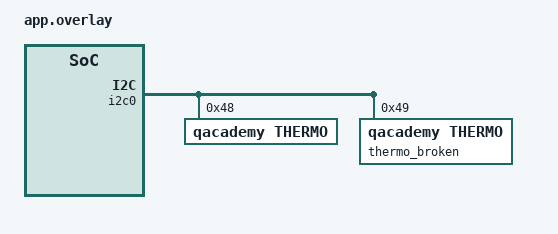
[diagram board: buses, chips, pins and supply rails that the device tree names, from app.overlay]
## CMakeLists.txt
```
# SPDX-License-Identifier: MIT

cmake_minimum_required(VERSION 3.20.0)

# The same module the application uses: the tests exercise the real driver, not a copy of it.
list(APPEND ZEPHYR_EXTRA_MODULES ${CMAKE_CURRENT_SOURCE_DIR}/../module)

find_package(Zephyr REQUIRED HINTS $ENV{ZEPHYR_BASE})
project(thermo_tests)

target_sources(app PRIVATE src/main.c)
```

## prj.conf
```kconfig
# The test framework. On native_sim, the test program exits when the last suite has run, with
# status 0 if every test passed, which is what Twister checks.
CONFIG_ZTEST=y

CONFIG_SENSOR=y
CONFIG_EMUL=y
CONFIG_LOG=y
```

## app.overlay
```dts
/*
 * SPDX-License-Identifier: MIT
 *
 * Two emulated parts on native_sim's I2C bus: one the tests read, and one whose initialization is
 * deferred until a test has made it faulty.
 */

&i2c0 {
	thermo: thermo@48 {
		compatible = "qacademy,thermo";
		reg = <0x48>;
		conversion-timeout-ms = <50>;
	};

	/*
	 * zephyr,deferred-init keeps the kernel from initializing this device at boot. A test
	 * initializes it with device_init(), after changing what the emulated part reports.
	 */
	thermo_broken: thermo@49 {
		compatible = "qacademy,thermo";
		reg = <0x49>;
		zephyr,deferred-init;
	};
};
```

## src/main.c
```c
/*
 * SPDX-License-Identifier: MIT
 *
 * Tests of the Thermo driver, run against its emulator on native_sim's I2C bus.
 */

#include <zephyr/device.h>
#include <zephyr/drivers/emul.h>
#include <zephyr/drivers/emul_sensor.h>
#include <zephyr/drivers/sensor.h>
#include <zephyr/kernel.h>
#include <zephyr/ztest.h>

#include <qacademy/thermo_emul.h>

#define THERMO_NODE        DT_NODELABEL(thermo)
#define THERMO_BROKEN_NODE DT_NODELABEL(thermo_broken)

static const struct device *const sensor = DEVICE_DT_GET(THERMO_NODE);
static const struct emul *const emul = EMUL_DT_GET(THERMO_NODE);

/* Set the temperature the emulated part will measure, in millionths of a degree Celsius. */
static int set_temperature(int64_t micro_c)
{
	/* The backend takes a Q31 fraction scaled by 2^shift. A shift of 8 spans
	 * +-256 degrees, enough to express temperatures the part cannot measure. */
	const int8_t shift = 8;
	q31_t value = (q31_t)((micro_c * (1LL << (31 - shift))) / 1000000);
	struct sensor_chan_spec chan = {SENSOR_CHAN_AMBIENT_TEMP, 0};

	return emul_sensor_backend_set_channel(emul, chan, &value, shift);
}

/* Fetch a reading and convert it, asserting that neither step fails. */
static struct sensor_value read_temperature(void)
{
	struct sensor_value value;

	zassert_ok(sensor_sample_fetch(sensor));
	zassert_ok(sensor_channel_get(sensor, SENSOR_CHAN_AMBIENT_TEMP, &value));

	return value;
}

/* Undo the fault injection of any test, so that every test starts from a working part. */
static void after(void *fixture)
{
	ARG_UNUSED(fixture);

	thermo_emul_set_stuck(emul, false);
}

ZTEST_SUITE(thermo, NULL, NULL, NULL, after, NULL);

ZTEST(thermo, test_device_is_ready)
{
	zassert_true(device_is_ready(sensor), "init failed, although WHO_AM_I is right");
}

ZTEST(thermo, test_positive_temperature)
{
	zassert_ok(set_temperature(21500000));

	struct sensor_value value = read_temperature();

	zassert_equal(value.val1, 21);
	zassert_equal(value.val2, 500000);
}

ZTEST(thermo, test_zero)
{
	zassert_ok(set_temperature(0));

	struct sensor_value value = read_temperature();

	zassert_equal(value.val1, 0);
	zassert_equal(value.val2, 0);
}

ZTEST(thermo, test_negative_temperature)
{
	zassert_ok(set_temperature(-18062500));

	struct sensor_value value = read_temperature();

	/* Both parts of a negative sensor_value are negative. */
	zassert_equal(value.val1, -18);
	zassert_equal(value.val2, -62500);
}

ZTEST(thermo, test_negative_below_one_degree)
{
	zassert_ok(set_temperature(-500000));

	struct sensor_value value = read_temperature();

	/* val1 cannot carry the sign of -0.5, so val2 must. */
	zassert_equal(value.val1, 0);
	zassert_equal(value.val2, -500000);
}

ZTEST(thermo, test_readings_are_in_steps_of_a_sixteenth)
{
	/* 23.1 degrees is 369.6 sixteenths; the part rounds that to 370, which is 23.125. */
	zassert_ok(set_temperature(23100000));

	struct sensor_value value = read_temperature();

	zassert_equal(value.val1, 23);
	zassert_equal(value.val2, 125000);
}

ZTEST(thermo, test_range_limits)
{
	struct sensor_value value;

	zassert_ok(set_temperature(-128000000));
	value = read_temperature();
	zassert_equal(sensor_value_to_micro(&value), -128000000);

	zassert_ok(set_temperature(127937500));
	value = read_temperature();
	zassert_equal(sensor_value_to_micro(&value), 127937500);

	zassert_equal(set_temperature(150000000), -ERANGE, "the part cannot measure 150 degrees");
}

ZTEST(thermo, test_channel_get_returns_the_last_fetch)
{
	struct sensor_value value;

	zassert_ok(set_temperature(10000000));
	zassert_ok(sensor_sample_fetch(sensor));

	/* The world changes, but nobody fetches: channel_get still converts the old reading. */
	zassert_ok(set_temperature(30000000));
	zassert_ok(sensor_channel_get(sensor, SENSOR_CHAN_AMBIENT_TEMP, &value));
	zassert_equal(value.val1, 10);

	zassert_ok(sensor_sample_fetch(sensor));
	zassert_ok(sensor_channel_get(sensor, SENSOR_CHAN_AMBIENT_TEMP, &value));
	zassert_equal(value.val1, 30);
}

ZTEST(thermo, test_unsupported_channel)
{
	struct sensor_value value;

	zassert_equal(sensor_sample_fetch_chan(sensor, SENSOR_CHAN_HUMIDITY), -ENOTSUP);
	zassert_equal(sensor_channel_get(sensor, SENSOR_CHAN_HUMIDITY, &value), -ENOTSUP);
}

ZTEST(thermo, test_conversion_timeout)
{
	thermo_emul_set_stuck(emul, true);

	int64_t start = k_uptime_get();

	zassert_equal(sensor_sample_fetch(sensor), -ETIMEDOUT);

	/* conversion-timeout-ms = <50> in app.overlay, in simulated time. */
	int64_t elapsed = k_uptime_get() - start;

	zassert_true(elapsed >= 50, "gave up after %lld ms, before the timeout", elapsed);
	zassert_true(elapsed < 100, "waited %lld ms, far beyond the timeout", elapsed);
}

ZTEST(thermo, test_wrong_who_am_i_fails_init)
{
	const struct device *const broken = DEVICE_DT_GET(THERMO_BROKEN_NODE);
	const struct emul *const broken_emul = EMUL_DT_GET(THERMO_BROKEN_NODE);

	/* Deferred: not initialized at boot, so not ready. */
	zassert_false(device_is_ready(broken));

	thermo_emul_set_who_am_i(broken_emul, 0x00);
	zassert_equal(device_init(broken), -ENODEV);
	zassert_false(device_is_ready(broken));

	/* A failed init still counts as run: the device cannot be initialized a second time. */
	thermo_emul_set_who_am_i(broken_emul, 0xA5);
	zassert_equal(device_init(broken), -EALREADY);
	zassert_false(device_is_ready(broken));
}
```
